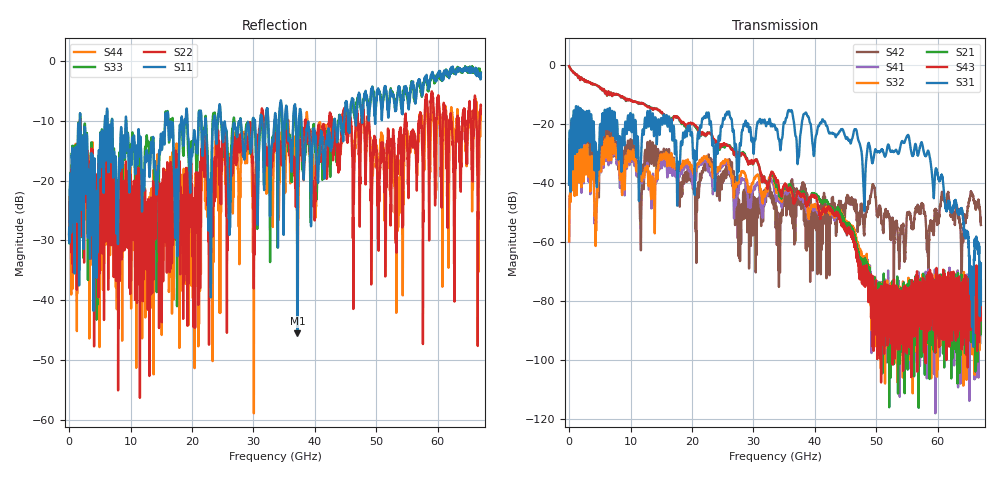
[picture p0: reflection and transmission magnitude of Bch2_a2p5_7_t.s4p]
!Agilent Technologies,N5247A,US51170199,A.09.90.13
!Agilent N5247A: A.09.90.13
!Date: Monday, October 22, 2018 15:58:47
!Correction: S11(Full 4 Port(1,2,3,4))
!S12(Full 4 Port(1,2,3,4))
!S13(Full 4 Port(1,2,3,4))
!S14(Full 4 Port(1,2,3,4))
!S21(Full 4 Port(1,2,3,4))
!S22(Full 4 Port(1,2,3,4))
!S23(Full 4 Port(1,2,3,4))
!S24(Full 4 Port(1,2,3,4))
!S31(Full 4 Port(1,2,3,4))
!S32(Full 4 Port(1,2,3,4))
!S33(Full 4 Port(1,2,3,4))
!S34(Full 4 Port(1,2,3,4))
!S41(Full 4 Port(1,2,3,4))
!S42(Full 4 Port(1,2,3,4))
!S43(Full 4 Port(1,2,3,4))
!S44(Full 4 Port(1,2,3,4))
!S4P File: Measurements: <S11,S12,S13,S14>,
!<S21,S22,S23,S24>,
!<S31,S32,S33,S34>,
!<S41,S42,S43,S44>:
# Hz S  dB  R 50
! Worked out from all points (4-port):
!   6701 points, 10 MHz to 67 GHz, reference 50 ohm
!   strongest paths, dB at 10 MHz, 16.76 GHz, 33.51 GHz, 50.25 GHz, 67 GHz:
!     S31: -40.5, -22.3, -20.8, -29.4, -67.3
!     S43: -0.3, -18.3, -38.0, -84.1, -84.4
!     S21: -0.3, -17.9, -39.5, -78.5, -73.1
!     S32: -59.8, -33.4, -40.9, -80.1, -90.5
!     S41: -59.9, -36.1, -43.9, -75.8, -79.1
!     S42: -40.5, -32.9, -47.4, -51.6, -54.3
!   lowest |S11| = -45.6 dB at 37.16 GHz (marker M1), VSWR 1.01, Z = 49.7 - j0.424 ohm
!   |S11| at or under -10 dB: 1.823 GHz to 5.834 GHz (4.011 GHz wide, 105 % of centre); 9.3 GHz to 15.63 GHz (6.332 GHz wide, 50.8 % of centre); 37.82 GHz to 43.1 GHz (5.28 GHz wide, 13 % of centre)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
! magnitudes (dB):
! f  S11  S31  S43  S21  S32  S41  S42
! 10 MHz  -28.9  -40.5  -0.3  -0.3  -59.8  -59.9  -40.5
! 6.029 GHz  -16.0  -21.5  -8.9  -9.0  -30.7  -31.7  -30.3
! 11.59 GHz  -13.0  -36.8  -13.0  -13.1  -38.1  -39.2  -52.2
! 13.4 GHz  -13.7  -21.9  -14.6  -14.4  -44.0  -48.6  -33.5
! 37.16 GHz  -45.6  -33.4  -42.8  -42.7  -42.7  -43.2  -43.2
! 57.35 GHz  -5.1  -26.2  -77.9  -87.4  -77.4  -76.5  -47.4
! 67 GHz  -1.9  -67.3  -84.4  -73.1  -90.5  -79.1  -54.3
